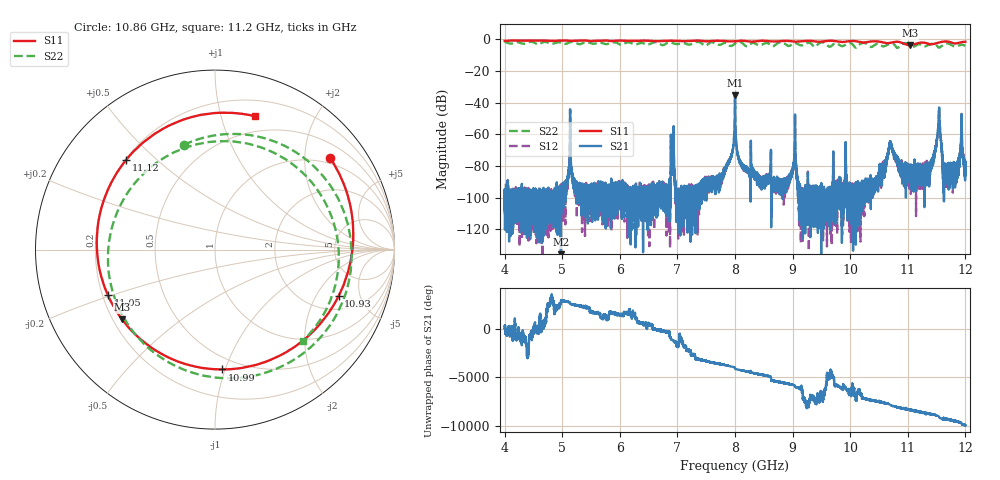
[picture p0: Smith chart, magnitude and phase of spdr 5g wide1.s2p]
!Agilent Technologies,N5230A,MY46401289,A.07.50.67
!Agilent N5230A: A.07.50.67
!Date: Tuesday, January 05, 2021 01:13:57
!Correction: S11(Full 2 Port(1,2))
!S21(Full 2 Port(1,2))
!S12(Full 2 Port(1,2))
!S22(Full 2 Port(1,2))
!S2P File: Measurements: S11, S21, S12, S22:
# Hz S  MA  R 50
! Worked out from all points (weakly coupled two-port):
!   16001 points, 4 GHz to 12 GHz, reference 50 ohm
!   highest |S21| = -35.46 dB at 8.001 GHz (marker M1); lowest = -144.8 dB at 4.978 GHz (marker M2)
!   lowest |S11| = -3.8 dB at 11.04 GHz (marker M3), VSWR 4.67, Z = 11.8 - j15.8 ohm
!   |S11| at or under -10 dB: nowhere
!   |S22| runs from -5.4 to -1.5 dB; largest |S21 - S12| = 0.00022
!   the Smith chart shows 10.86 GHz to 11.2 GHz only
!   S11 on the Smith chart (normalised r, x): 10.86 GHz: 0.85, +2.63; 10.93 GHz: 2.81, -3.15; 10.99 GHz: 0.40, -0.98; 11.05 GHz: 0.22, -0.20; 11.12 GHz: 0.20, +0.40; 11.2 GHz: 0.34, +1.29
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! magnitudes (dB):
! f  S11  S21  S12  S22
! 4 GHz  -1.0  -101.6  -105.4  -1.6
! 4.978 GHz  -0.8  -144.8  -100.5  -2.2
! 5.333 GHz  -0.8  -94.9  -98.6  -2.8
! 6.667 GHz  -1.2  -97.6  -97.9  -2.2
! 7.827 GHz  -1.1  -81.8  -82.2  -2.2
! 8 GHz  -1.4  -37.5  -37.5  -2.8
! 8.001 GHz  -1.4  -35.5  -35.4  -3.0
! 8.148 GHz  -0.9  -80.6  -80.8  -3.0
! 9.334 GHz  -1.0  -100.9  -102.6  -3.2
! 10.67 GHz  -2.4  -70.9  -70.3  -3.1
! 10.86 GHz  -1.7  -80.5  -80.3  -4.3
! 10.93 GHz  -2.7  -81.8  -83.2  -2.5
! 10.99 GHz  -3.5  -83.0  -81.8  -2.5
! 11.04 GHz  -3.8  -85.2  -82.6  -3.8
! 11.05 GHz  -3.8  -91.4  -88.3  -4.1
! 11.12 GHz  -3.1  -81.7  -84.5  -4.3
! 11.2 GHz  -2.2  -81.3  -87.9  -3.0
! 11.41 GHz  -3.2  -81.3  -78.3  -2.9
! 11.54 GHz  -2.0  -48.1  -48.0  -5.2
! 11.64 GHz  -1.4  -88.2  -82.2  -2.9
! 11.93 GHz  -1.8  -47.3  -47.2  -3.4
! 12 GHz  -1.5  -86.0  -84.6  -4.0
